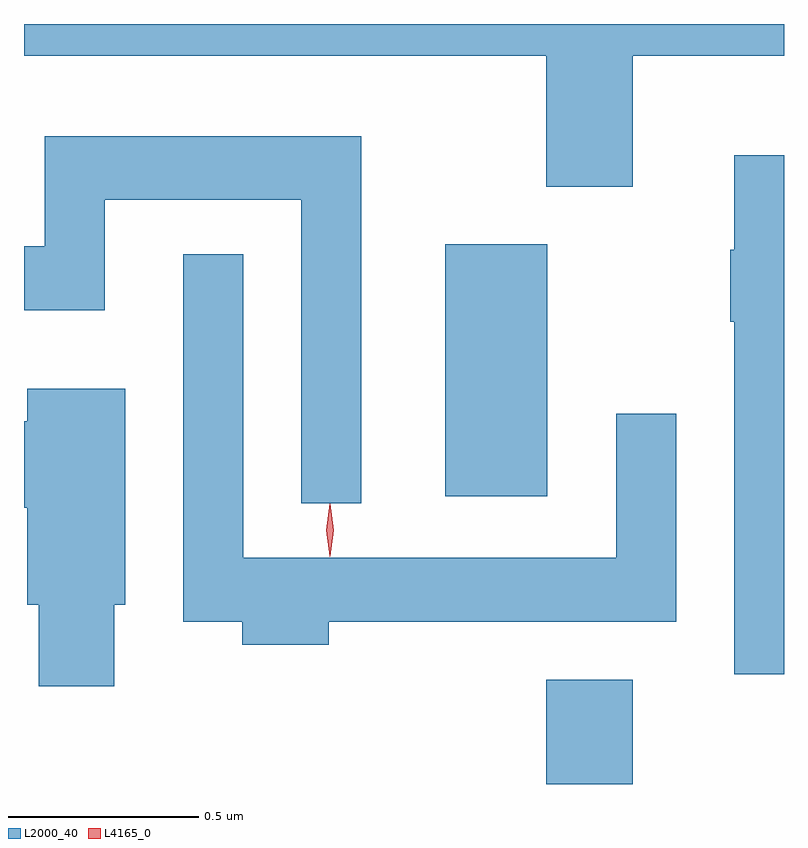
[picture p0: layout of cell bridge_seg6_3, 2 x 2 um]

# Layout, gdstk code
import gdstk
lib = gdstk.Library(unit=1e-6, precision=1e-09)
def R(c, l, rs):  # rectangles x0, y0, x1, y1
    for r in rs: c.add(gdstk.rectangle(r[:2], r[2:], *l))
def P(c, l, *ps):  # polygons
    for p in ps: c.add(gdstk.Polygon(p, *l))
L2000_40 = (2000, 40)
L4165_0 = (4165, 0)

bridge_seg6_3 = lib.new_cell('bridge_seg6_3')
R(bridge_seg6_3, L2000_40, [(1439.111,1654.679,1439.339,1654.954), (1438.846,1655.436,1439.114,1656.099)])
P(bridge_seg6_3, L2000_40, [(1439.339,1656.596),(1439.737,1656.596),(1439.737,1656.679),(1437.737,1656.679),(1437.737,1656.596),(1439.111,1656.596),(1439.111,1656.251),(1439.339,1656.251)],
  [(1438.624,1656.384),(1437.791,1656.384),(1437.791,1656.094),(1437.737,1656.094),(1437.737,1655.926),(1437.949,1655.926),(1437.949,1656.216),(1438.466,1656.216),(1438.466,1655.418),(1438.624,1655.418)],
  [(1439.737,1656.334),(1439.606,1656.334),(1439.606,1656.085),(1439.596,1656.085),(1439.596,1655.895),(1439.606,1655.895),(1439.606,1654.968),(1439.737,1654.968)],
  [(1438.539,1655.106),(1439.454,1655.106),(1439.454,1655.653),(1439.296,1655.653),(1439.296,1655.274),(1438.314,1655.274),(1438.314,1656.073),(1438.156,1656.073),(1438.156,1655.106),(1438.311,1655.106),(1438.311,1655.046),(1438.539,1655.046)],
  [(1437.974,1655.151),(1438.004,1655.151),(1438.004,1655.719),(1437.746,1655.719),(1437.746,1655.634),(1437.737,1655.634),(1437.737,1655.406),(1437.746,1655.406),(1437.746,1655.151),(1437.776,1655.151),(1437.776,1654.936),(1437.974,1654.936)])
P(bridge_seg6_3, L4165_0, [(1438.542,1655.277),(1438.542,1655.278),(1438.532,1655.347),(1438.542,1655.416),(1438.542,1655.416),(1438.543,1655.416),(1438.552,1655.347),(1438.543,1655.278)])

lib.write_gds('bridge_seg6_3.gds')
